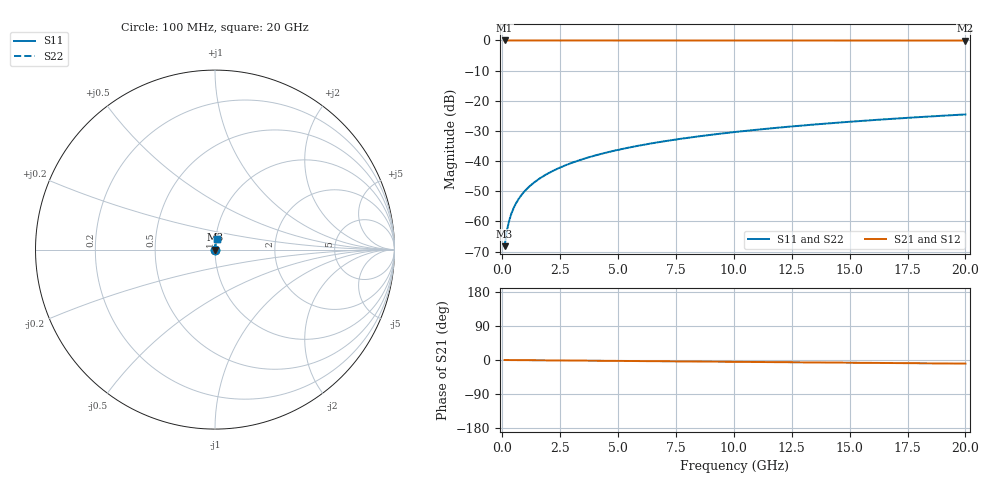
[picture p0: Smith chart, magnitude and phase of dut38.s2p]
! Touchstone file exported from HFSS 2026.1.0
!  File:  C:/ffzhzh/LocalFiles/Ansys_Project_Files/temp_train_TSV_38_1782958524_15332.aedt
!  Generated:  10:17:03 AM Jul  2, 2026
!  Design:  TSV
!  Project:  temp_train_TSV_38_1782958524_15332
! Variables:
!  h_bsmrdl = 2um
!  h_ox = 20um
!  h_rdl = 5um
!  h_sub = 86.14um
!  h_tmrdl = 5um
!  h_tsv = 86.14um
!  h_via = 3um
!  l_bsmrdl = 300um
!  l_sub = 416.12um
!  l_tmrdl = 200um
!  m_sub = 200um
!  pitch = 53.37um
!  r_tsv = 8.06um
!  s_tmrdl = 10um
!  w_bsmrdl = 18um
!  w_sub = 500um
!  w_tmrdl = 12um
!  x_tsv_center1 = 206um
!  x_tsv_center2 = 524um
!  x_tsv_center3 = 736um
!  x_tsv_center4 = 1054um
!  x_tsv_center5 = 1266um
!  x_tsv_center6 = 1584um
# GHz S MA R 50.000000
! Terminal data exported
! Port[1] = TSV1_1_T1
! Port[2] = TSV1_1_T2
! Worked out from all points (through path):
!   200 points, 100 MHz to 20 GHz, reference 50 ohm
!   highest |S21| = 0.00 dB at 100 MHz (marker M1); lowest = 0.0 dB at 20 GHz (marker M2)
!   group delay of S21, straight-line fit = 1.32 ps
!   lowest |S11| = -68.2 dB at 100 MHz (marker M3), VSWR 1.00, Z = 50 + j0.0343 ohm
!   |S11| at or under -10 dB: start of sweep to end of sweep
!   |S22| runs from -68.2 to -24.5 dB; largest |S21 - S12| = 2e-15
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0.1  0.0003899 61.5  0.9998 -0.1  0.9998 -0.1  0.0003899 61.5
! Gamma 0 0 0 0
! Port Impedance 50 0 50 0
0.2  0.0007113 73.9  0.9998 -0.1  0.9998 -0.1  0.0007113 73.9
0.3  0.001043 78.2  0.9998 -0.2  0.9998 -0.2  0.001043 78.2
0.4  0.001373 80.1  0.9998 -0.2  0.9998 -0.2  0.001373 80.1
0.5  0.001701 81.2  0.9997 -0.2  0.9997 -0.2  0.001701 81.2
0.6  0.002024 81.9  0.9997 -0.3  0.9997 -0.3  0.002024 81.9
0.7  0.002343 82.3  0.9997 -0.3  0.9997 -0.3  0.002343 82.3
0.8  0.002658 82.7  0.9997 -0.4  0.9997 -0.4  0.002658 82.7
1  0.003281 83.2  0.9996 -0.5  0.9996 -0.5  0.003281 83.2
1.4  0.004509 83.8  0.9996 -0.7  0.9996 -0.7  0.004509 83.8
1.7  0.005422 84.2  0.9995 -0.8  0.9995 -0.8  0.005422 84.2
2  0.006334 84.5  0.9995 -1.0  0.9995 -1.0  0.006334 84.5
2.7  0.008456 84.8  0.9994 -1.3  0.9994 -1.3  0.008456 84.8
3.5  0.01088 84.9  0.9993 -1.7  0.9993 -1.7  0.01088 84.9
4.2  0.01299 84.9  0.9992 -2.0  0.9992 -2.0  0.01299 84.9
5  0.01539 84.7  0.9991 -2.4  0.9991 -2.4  0.01539 84.7
6.8  0.02076 84.2  0.9989 -3.3  0.9989 -3.3  0.02076 84.2
8.3  0.02521 83.7  0.9987 -4.0  0.9987 -4.0  0.02521 83.7
10.1  0.03054 83.1  0.9984 -4.8  0.9984 -4.8  0.03054 83.1
13.4  0.04025 81.8  0.9979 -6.4  0.9979 -6.4  0.04025 81.8
16.7  0.04988 80.4  0.9974 -8.0  0.9974 -8.0  0.04988 80.4
20  0.05943 79.0  0.9967 -9.5  0.9967 -9.5  0.05943 79.0
